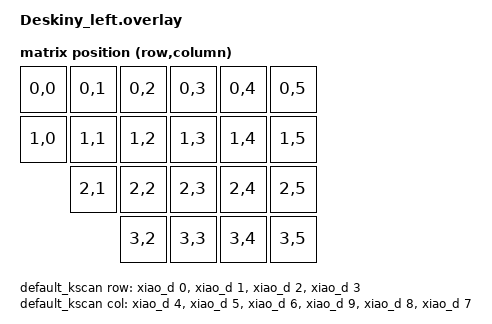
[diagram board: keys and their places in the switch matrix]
#include <dt-bindings/zmk/matrix_transform.h>

/{
    chosen {
        zmk,kscan =&default_kscan;
        zmk,matrix_transform =&default_transform;
    };

    default_transform: keymaptransform_0 {
        compatible = "zmk,matrix-transform";
        columns = <6>;
        rows = <4>;

//   |SW01 | SW03 | SW06 | SW10 | SW14 | SW18 |
//   |SW02 | SW04 | SW07 | SW11 | SW15 | SW19 |
//         | SW05 | SW08 | SW12 | SW16 | SW20 |
//                | SW09 | SW13 | SW17 | SW21 |
    map = <
        RC(0,0) RC(0,1) RC(0,2) RC(0,3) RC(0,4) RC(0,5)
        RC(1,0) RC(1,1) RC(1,2) RC(1,3) RC(1,4) RC(1,5)
                RC(2,1) RC(2,2) RC(2,3) RC(2,4) RC(2,5)
                        RC(3,2) RC(3,3) RC(3,4) RC(3,5)
                        >;

    };
    default_kscan: kscan {
        compatible = "zmk,kscan-gpio-matrix";
        label = "default_kscan";
        diode-direction = "col2row";
        
        row-gpios  
        = <&xiao_d 0 (GPIO_ACTIVE_HIGH | GPIO_PULL_DOWN)>
        , <&xiao_d 1 (GPIO_ACTIVE_HIGH | GPIO_PULL_DOWN)>
        , <&xiao_d 2 (GPIO_ACTIVE_HIGH | GPIO_PULL_DOWN)>
        , <&xiao_d 3 (GPIO_ACTIVE_HIGH | GPIO_PULL_DOWN)>;

        col-gpios 
        = <&xiao_d 4 (GPIO_ACTIVE_HIGH)>
        , <&xiao_d 5 (GPIO_ACTIVE_HIGH)>
        , <&xiao_d 6 (GPIO_ACTIVE_HIGH)>
        , <&xiao_d 9 (GPIO_ACTIVE_HIGH)>
        , <&xiao_d 8 (GPIO_ACTIVE_HIGH)>  
        , <&xiao_d 7 (GPIO_ACTIVE_HIGH)> 
        ;
    };
};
